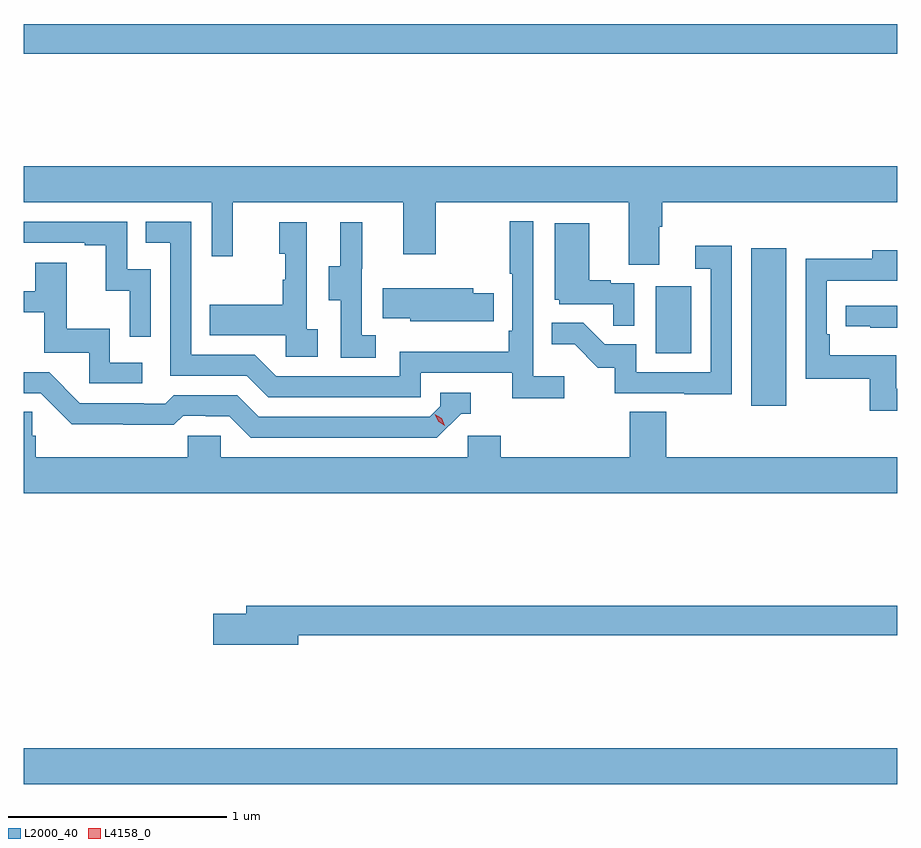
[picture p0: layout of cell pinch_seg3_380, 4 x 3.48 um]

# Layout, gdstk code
import gdstk
lib = gdstk.Library(unit=1e-6, precision=1e-09)
def R(c, l, rs):  # rectangles x0, y0, x1, y1
    for r in rs: c.add(gdstk.rectangle(r[:2], r[2:], *l))
def P(c, l, *ps):  # polygons
    for p in ps: c.add(gdstk.Polygon(p, *l))
L2000_40 = (2000, 40)
L4158_0 = (4158, 0)

pinch_seg3_380 = lib.new_cell('pinch_seg3_380')
R(pinch_seg3_380, L2000_40, [(1010.953,686.264,1014.953,686.428), (1014.284,687.996,1014.445,688.717), (1013.846,688.236,1014.01,688.543), (1010.953,689.608,1014.953,689.744)])
P(pinch_seg3_380, L2000_40, [(1013.863,688.816),(1013.876,688.816),(1013.876,688.928),(1014.953,688.928),(1014.953,689.092),(1010.953,689.092),(1010.953,688.928),(1011.813,688.928),(1011.813,688.68),(1011.911,688.68),(1011.911,688.928),(1012.691,688.928),(1012.691,688.689),(1012.839,688.689),(1012.839,688.928),(1013.723,688.928),(1013.723,688.642),(1013.863,688.642)],
  [(1013.428,688.132),(1013.286,688.132),(1013.286,688.84),(1013.178,688.84),(1013.178,688.6),(1013.19,688.6),(1013.19,688.339),(1013.173,688.339),(1013.173,688.243),(1012.674,688.243),(1012.674,688.131),(1012.11,688.131),(1012.011,688.23),(1011.72,688.23),(1011.72,688.839),(1011.511,688.839),(1011.511,688.743),(1011.624,688.743),(1011.624,688.134),(1011.974,688.134),(1012.073,688.035),(1012.77,688.035),(1012.77,688.146),(1013.189,688.146),(1013.189,688.03),(1013.428,688.03)],
  [(1011.534,688.62),(1011.426,688.62),(1011.426,688.839),(1010.953,688.839),(1010.953,688.743),(1011.233,688.743),(1011.233,688.731),(1011.329,688.731),(1011.329,688.523),(1011.438,688.523),(1011.438,688.311),(1011.534,688.311)],
  [(1012.3,688.346),(1012.248,688.346),(1012.248,688.837),(1012.124,688.837),(1012.124,688.692),(1012.15,688.692),(1012.15,688.574),(1012.14,688.574),(1012.14,688.459),(1011.805,688.459),(1011.805,688.319),(1012.152,688.319),(1012.152,688.221),(1012.3,688.221)],
  [(1012.564,688.319),(1012.5,688.319),(1012.5,688.623),(1012.502,688.623),(1012.502,688.837),(1012.403,688.837),(1012.403,688.635),(1012.349,688.635),(1012.349,688.48),(1012.404,688.48),(1012.404,688.216),(1012.564,688.216)],
  [(1013.748,688.557),(1013.642,688.557),(1013.642,688.57),(1013.542,688.57),(1013.542,688.831),(1013.384,688.831),(1013.384,688.482),(1013.406,688.482),(1013.406,688.461),(1013.653,688.461),(1013.653,688.363),(1013.748,688.363)],
  [(1014.195,688.729),(1014.027,688.729),(1014.027,688.623),(1014.099,688.623),(1014.099,688.149),(1013.757,688.149),(1013.757,688.278),(1013.613,688.278),(1013.515,688.376),(1013.371,688.376),(1013.371,688.277),(1013.475,688.277),(1013.582,688.17),(1013.659,688.17),(1013.659,688.053),(1013.977,688.053),(1013.977,688.048),(1014.195,688.048)],
  [(1014.953,688.073),(1014.949,688.073),(1014.949,688.228),(1014.644,688.228),(1014.644,688.324),(1014.63,688.324),(1014.63,688.569),(1014.943,688.569),(1014.943,688.568),(1014.953,688.568),(1014.953,688.708),(1014.839,688.708),(1014.839,688.67),(1014.534,688.67),(1014.534,688.119),(1014.828,688.119),(1014.828,687.972),(1014.953,687.972)],
  [(1011.496,688.194),(1011.348,688.194),(1011.348,688.348),(1011.149,688.348),(1011.149,688.651),(1011.005,688.651),(1011.005,688.521),(1010.953,688.521),(1010.953,688.425),(1011.047,688.425),(1011.047,688.239),(1011.252,688.239),(1011.252,688.098),(1011.496,688.098)],
  [(1012.994,688.383),(1013.105,688.383),(1013.105,688.512),(1013.011,688.512),(1013.011,688.534),(1012.597,688.534),(1012.597,688.397),(1012.722,688.397),(1012.722,688.382),(1012.994,688.382)],
  [(1014.953,688.455),(1014.717,688.455),(1014.717,688.359),(1014.829,688.359),(1014.829,688.354),(1014.953,688.354)],
  [(1012.956,687.96),(1012.999,687.96),(1012.999,688.056),(1012.86,688.056),(1012.86,687.993),(1012.812,687.945),(1012.029,687.945),(1011.93,688.044),(1011.641,688.044),(1011.602,688.005),(1011.503,688.005),(1011.503,688.008),(1011.21,688.008),(1011.069,688.149),(1010.953,688.149),(1010.953,688.053),(1011.03,688.053),(1011.172,687.911),(1011.408,687.911),(1011.408,687.909),(1011.641,687.909),(1011.683,687.951),(1011.786,687.951),(1011.786,687.948),(1011.893,687.948),(1011.992,687.849),(1012.845,687.849)],
  [(1014.953,687.76),(1013.894,687.76),(1013.894,687.968),(1013.729,687.968),(1013.729,687.76),(1013.138,687.76),(1013.138,687.858),(1012.986,687.858),(1012.986,687.76),(1011.855,687.76),(1011.855,687.858),(1011.705,687.858),(1011.705,687.76),(1011.008,687.76),(1011.008,687.858),(1010.993,687.858),(1010.993,687.968),(1010.953,687.968),(1010.953,687.596),(1014.953,687.596)],
  [(1012.21,686.944),(1014.953,686.944),(1014.953,687.08),(1011.971,687.08),(1011.971,687.044),(1011.822,687.044),(1011.822,686.902),(1012.21,686.902)])
P(pinch_seg3_380, L4158_0, [(1012.881,687.905),(1012.851,687.925),(1012.835,687.958),(1012.835,687.958),(1012.835,687.958),(1012.866,687.938),(1012.881,687.905),(1012.881,687.905)])

lib.write_gds('pinch_seg3_380.gds')
